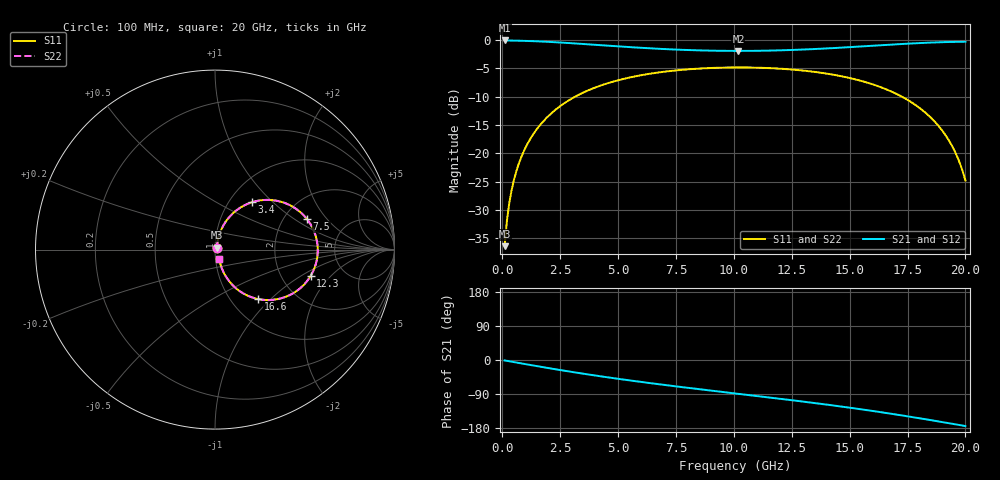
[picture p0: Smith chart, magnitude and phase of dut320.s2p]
! Touchstone file exported from HFSS 2026.1.0
!  File:  C:/ffzhzh/LocalFiles/Ansys_Project_Files/temp_train_TSV_RDL_320_1783031302_4048.aedt
!  Generated:  06:42:14 AM Jul  3, 2026
!  Design:  TSV_RDL
!  Project:  temp_train_TSV_RDL_320_1783031302_4048
! Variables:
!  h_bsmrdl = 5.41um
!  h_ox = 20um
!  h_rdl = 5um
!  h_sub = 67.3um
!  h_tmrdl = 4.7um
!  h_tsv = 67.3um
!  h_via = 3um
!  l_bsmrdl = 614.65um
!  l_sub = 3053.91um
!  l_tmrdl = 168.38um
!  m_sub = 200um
!  pitch = 58.58um
!  r_tsv = 10.85um
!  s_tmrdl = 10um
!  w_bsmrdl = 19.18um
!  w_sub = 500um
!  w_tmrdl = 26.3um
!  x_tsv_center1 = 181.53um
!  x_tsv_center2 = 815.36um
!  x_tsv_center3 = 1010.04um
!  x_tsv_center4 = 1643.87um
!  x_tsv_center5 = 1838.55um
!  x_tsv_center6 = 2472.38um
# GHz S MA R 50.000000
! Terminal data exported
! Port[1] = TM_RDL1_1_T1
! Port[2] = TM_RDL5_1_T1
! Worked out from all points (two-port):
!   200 points, 100 MHz to 20 GHz, reference 50 ohm
!   highest |S21| = -0.08 dB at 100 MHz (marker M1); lowest = -1.9 dB at 10.2 GHz (marker M2)
!   |S21| within 3 dB of the highest: start of sweep to end of sweep
!   lowest |S11| = -36.4 dB at 100 MHz (marker M3), VSWR 1.03, Z = 51 + j1.19 ohm
!   |S11| at or under -10 dB: start of sweep to 3.148 GHz; 17.26 GHz to end of sweep
!   |S22| runs from -36.4 to -4.8 dB; largest |S21 - S12| = 9.1e-14
!   S11 on the Smith chart (normalised r, x): 100 MHz: 1.02, +0.02; 3.4 GHz: 1.27, +0.76; 7.5 GHz: 2.64, +1.28; 12.3 GHz: 2.91, -1.22; 16.6 GHz: 1.33, -0.84; 20 GHz: 1.04, -0.11
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0.1  0.01516 50.3  0.9905 -1.1  0.9905 -1.1  0.01516 50.3
! Gamma 0 0 0 0
! Port Impedance 50 0 50 0
0.2  0.02543 64.8  0.9898 -2.2  0.9898 -2.2  0.02543 64.8
0.4  0.04706 72.4  0.9882 -4.4  0.9882 -4.4  0.04706 72.4
0.7  0.07956 74.0  0.9854 -7.7  0.9854 -7.7  0.07956 74.0
1  0.1118 72.9  0.9817 -10.9  0.9817 -10.9  0.1118 72.9
2  0.2141 64.8  0.9627 -21.4  0.9627 -21.4  0.2141 64.8
3.4  0.3362 51.9  0.9249 -35.3  0.9249 -35.3  0.3362 51.9
3.5  0.3438 51.0  0.9219 -36.2  0.9219 -36.2  0.3438 51.0
5  0.4411 38.0  0.8785 -49.6  0.8785 -49.6  0.4411 38.0
6.8  0.5188 23.8  0.8353 -64.2  0.8353 -64.2  0.5188 23.8
7.5  0.539 18.6  0.8227 -69.6  0.8227 -69.6  0.539 18.6
10.1  0.5725 0.2  0.8008 -88.6  0.8008 -88.6  0.5725 0.2
10.2  0.5725 -0.5  0.8007 -89.3  0.8007 -89.3  0.5725 -0.5
12.3  0.5529 -15.3  0.8137 -104.5  0.8137 -104.5  0.5529 -15.3
13.4  0.5257 -23.3  0.8303 -112.9  0.8303 -112.9  0.5257 -23.3
15.1  0.457 -36.5  0.867 -126.7  0.867 -126.7  0.457 -36.4
16.6  0.3657 -48.9  0.9055 -140.0  0.9055 -140.0  0.3657 -48.9
16.7  0.3586 -49.8  0.908 -140.9  0.908 -140.9  0.3586 -49.7
17.9  0.2621 -60.0  0.9369 -152.5  0.9369 -152.5  0.2621 -59.9
18.8  0.1783 -66.9  0.9537 -161.7  0.9537 -161.7  0.1783 -66.9
19.5  0.1083 -70.0  0.9623 -169.0  0.9623 -169.0  0.1084 -69.9
20  0.05762 -65.8  0.9655 -174.3  0.9655 -174.3  0.05768 -65.6
